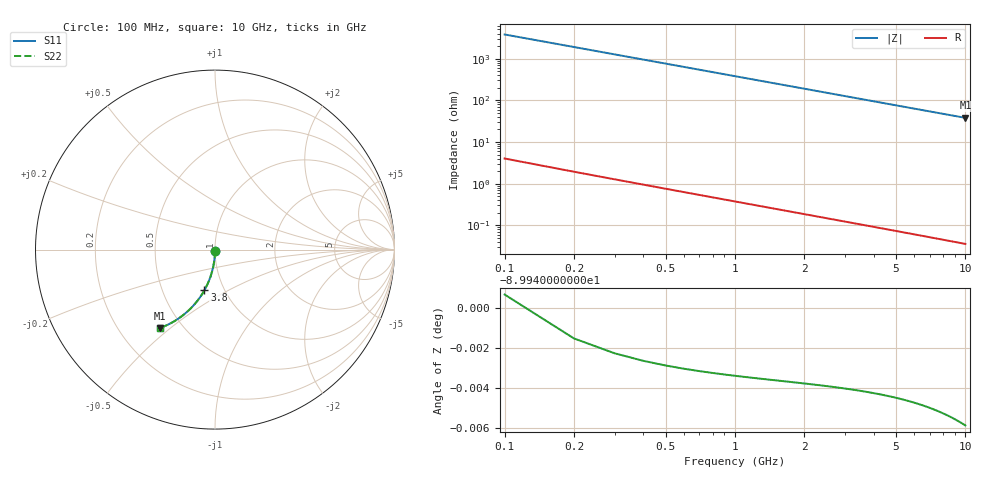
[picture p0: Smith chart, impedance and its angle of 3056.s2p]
# Hz S RI R 50.00
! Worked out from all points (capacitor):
!   100 points, 100 MHz to 10 GHz, reference 50 ohm
!   read as one part in shunt: C = 419 fF near 100 MHz
!   lowest |Z| = 38 ohm at 10 GHz (marker M1)
!   S11 on the Smith chart (normalised r, x): 100 MHz: 1.00, -0.01; 3.8 GHz: 0.80, -0.39; 10 GHz: 0.38, -0.46
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1e8  1.04e-05 -0.00635  0.9999 -0.00682  0.9999 -0.00682  1.04e-05 -0.00635
2e8  -0.000125 -0.0127  0.9998 -0.0136  0.9998 -0.0136  -0.000125 -0.0127
3e8  -0.000348 -0.019  0.9995 -0.0204  0.9995 -0.0204  -0.000348 -0.019
4e8  -0.000656 -0.0254  0.9992 -0.0273  0.9992 -0.0273  -0.000656 -0.0254
5e8  -0.00105 -0.0317  0.9988 -0.0341  0.9988 -0.0341  -0.00105 -0.0317
6e8  -0.00153 -0.038  0.9983 -0.0408  0.9983 -0.0408  -0.00153 -0.038
7e8  -0.0021 -0.0443  0.9978 -0.0476  0.9978 -0.0476  -0.0021 -0.0443
8e8  -0.00275 -0.0506  0.9971 -0.0544  0.9971 -0.0544  -0.00275 -0.0506
9e8  -0.00349 -0.0569  0.9964 -0.0612  0.9964 -0.0612  -0.00349 -0.0569
1.1e9  -0.00522 -0.0695  0.9946 -0.0746  0.9946 -0.0746  -0.00522 -0.0695
1.4e9  -0.00845 -0.0881  0.9914 -0.0947  0.9914 -0.0947  -0.00845 -0.0881
1.8e9  -0.0139 -0.1127  0.9859 -0.1212  0.9859 -0.1212  -0.0139 -0.1127
2.1e9  -0.0188 -0.1308  0.981 -0.1408  0.981 -0.1408  -0.0188 -0.1308
2.5e9  -0.0265 -0.1546  0.9733 -0.1664  0.9733 -0.1664  -0.0265 -0.1546
2.9e9  -0.0354 -0.1777  0.9644 -0.1914  0.9644 -0.1914  -0.0354 -0.1777
3.4e9  -0.0481 -0.2056  0.9517 -0.2217  0.9517 -0.2217  -0.0481 -0.2056
3.8e9  -0.0594 -0.2271  0.9403 -0.2451  0.9403 -0.2451  -0.0594 -0.2271
4.4e9  -0.0781 -0.2577  0.9215 -0.2786  0.9215 -0.2786  -0.0781 -0.2577
5.1e9  -0.1024 -0.2908  0.8972 -0.3151  0.8972 -0.3151  -0.1024 -0.2908
6.7e9  -0.1651 -0.3551  0.8342 -0.3872  0.8342 -0.3872  -0.1651 -0.3551
8.4e9  -0.2381 -0.4055  0.7609 -0.446  0.7609 -0.446  -0.2381 -0.4055
1e10  -0.3081 -0.4372  0.6906 -0.4857  0.6906 -0.4857  -0.3081 -0.4372
